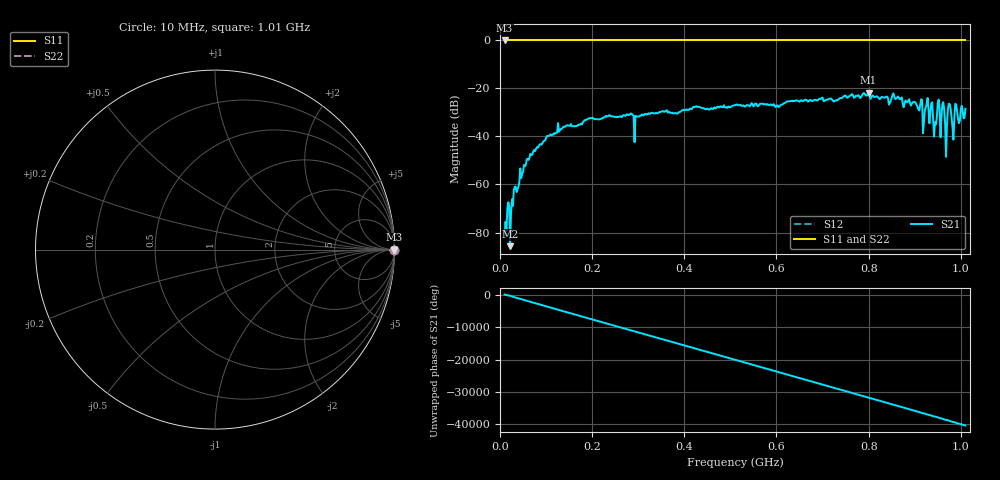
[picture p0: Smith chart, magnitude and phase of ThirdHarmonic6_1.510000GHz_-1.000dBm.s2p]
! 8/16/2025 5:47:00 PM
! C:\ANRITSUVNA\TEMP\TEMP.S2P
! CHANNEL.1
! TR.MEASUREMENT
! RAW.DATA
! RF.CORRECTION.OFF
! AVERAGING.OFF
! IF.BANDWIDTH: 5KHZ
! SWEEPTYPE:  FREQ.SWEEP(Linear)
! Reference Plane Port Info
! PORT:  PORT1  PORT2
! DISTANCE:  0  m  0  m
! TIME:  0  s  0  s
! PHASE.OFFSET:  0  deg.  0  deg.
! LOSS:  0  dB  0  dB
! REF.LOSS:  0  dB  0  dB
! REF.FREQ:  0  Hz  0  Hz
! Power Info
! POWER:  -20  dBm  -20  dBm
! EFF.POWER:  -20  dBm  -20  dBm
! SOURCE.ATTEN:  0  dB  0  dB
! TEST.ATTEN:  0  dB  0  dB
# GHZ S RI R 50.0
! FREQ.GHZ  S11RE  S11IM  S21RE  S21IM  S12RE  S12IM  S22RE  S22IM
!; PortSelection: Port_12
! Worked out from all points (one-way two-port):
!   501 points, 10 MHz to 1.01 GHz, reference 50 ohm
!   highest |S21| = -21.78 dB at 800 MHz (marker M1); lowest = -85.7 dB at 22 MHz (marker M2)
!   lowest |S11| = 0.0 dB at 10 MHz (marker M3)
!   |S11| at or under -10 dB: nowhere
!   |S22| runs from 0.0 to 0.0 dB; largest |S21 - S12| = 1.1
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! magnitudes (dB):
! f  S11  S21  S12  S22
! 10 MHz  0.0  -81.3  0.0  0.0
! 22 MHz  0.0  -85.7  0.0  0.0
! 48 MHz  0.0  -55.6  0.0  0.0
! 70 MHz  0.0  -47.6  0.0  0.0
! 130 MHz  0.0  -37.4  0.0  0.0
! 178 MHz  0.0  -35.0  0.0  0.0
! 344 MHz  0.0  -30.1  0.0  0.0
! 510 MHz  0.0  -27.0  0.0  0.0
! 678 MHz  0.0  -25.3  0.0  0.0
! 800 MHz  0.0  -21.8  0.0  0.0
! 844 MHz  0.0  -26.7  0.0  0.0
! 912 MHz  0.0  -26.8  0.0  0.0
! 922 MHz  0.0  -29.0  0.0  0.0
! 926 MHz  0.0  -26.6  0.0  0.0
! 944 MHz  0.0  -34.1  0.0  0.0
! 950 MHz  0.0  -26.3  0.0  0.0
! 962 MHz  0.0  -25.7  0.0  0.0
! 968 MHz  0.0  -48.5  0.0  0.0
! 976 MHz  0.0  -26.5  0.0  0.0
! 982 MHz  0.0  -36.1  0.0  0.0
! 990 MHz  0.0  -26.6  0.0  0.0
! 1.01 GHz  0.0  -28.5  0.0  0.0
